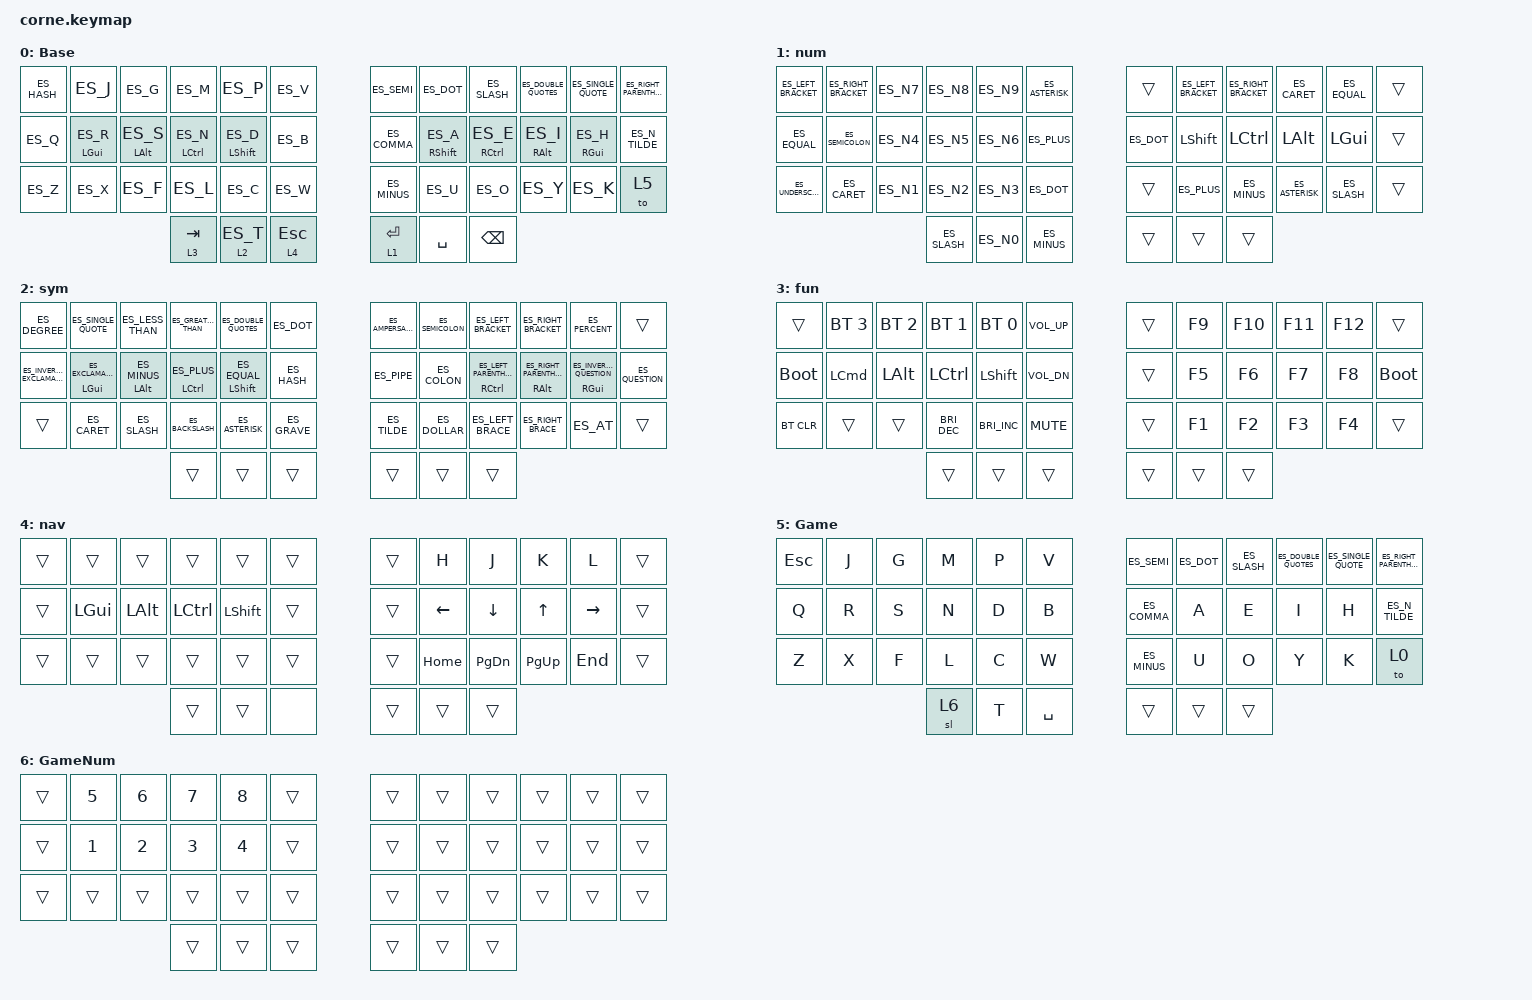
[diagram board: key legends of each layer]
/*
 * Copyright (c) 2020 The ZMK Contributors
 *
 * SPDX-License-Identifier: MIT
 */

#include <locale/keys_es_latin_american.h>
#include <behaviors.dtsi>
#include <dt-bindings/zmk/bt.h>
#include <dt-bindings/zmk/keys.h>

/ {
    behaviors {
        hrm: hrm {
            compatible = "zmk,behavior-hold-tap";
            label = "HRM";
            bindings = <&kp>, <&kp>;

            #binding-cells = <2>;
            flavor = "balanced";
            tapping-term-ms = <280>;
            quick-tap-ms = <175>;
            require-prior-idle-ms = <150>;
        };

        htl: htl {
            compatible = "zmk,behavior-hold-tap";
            label = "HTL";
            bindings = <&mo>, <&kp>;

            #binding-cells = <2>;
            tapping-term-ms = <280>;
            quick-tap-ms = <150>;
            require-prior-idle-ms = <100>;
            flavor = "balanced";
        };
    };

    combos {
        compatible = "zmk,combos";

        a_tilde {
            bindings = <&a_tilde>;
            key-positions = <37 19>;
        };

        e_tilde {
            bindings = <&e_tilde>;
            key-positions = <37 20>;
        };

        i_tilde {
            bindings = <&i_tilde>;
            key-positions = <37 21>;
        };

        o_tilde {
            bindings = <&o_tilde>;
            key-positions = <37 32>;
        };

        u_tilde {
            bindings = <&u_tilde>;
            key-positions = <37 31>;
        };

        u_dos_puntos {
            bindings = <&u_dos_puntos>;
            key-positions = <37 31 32>;
        };

        caps_lock {
            bindings = <&kp CAPS>;
            key-positions = <21 22>;
        };
    };

    macros {
        a_tilde: a_tilde {
            compatible = "zmk,behavior-macro";
            #binding-cells = <0>;
            bindings = <&kp ES_ACUTE &kp ES_A>;
            label = "A_TILDE";
        };

        e_tilde: e_tilde {
            compatible = "zmk,behavior-macro";
            #binding-cells = <0>;
            bindings = <&kp ES_ACUTE &kp ES_E>;
            label = "E_TILDE";
        };

        i_tilde: i_tilde {
            compatible = "zmk,behavior-macro";
            #binding-cells = <0>;
            bindings = <&kp ES_ACUTE &kp ES_I>;
            label = "I_TILDE";
        };

        o_tilde: o_tilde {
            compatible = "zmk,behavior-macro";
            #binding-cells = <0>;
            bindings = <&kp ES_ACUTE &kp ES_O>;
            label = "O_TILDE";
        };

        u_tilde: u_tilde {
            compatible = "zmk,behavior-macro";
            #binding-cells = <0>;
            bindings = <&kp ES_ACUTE &kp ES_U>;
            label = "U_TILDE";
        };

        u_dos_puntos: u_dos_puntos {
            compatible = "zmk,behavior-macro";
            #binding-cells = <0>;
            bindings = <&kp ES_UMLAUT &kp ES_U>;
            label = "U_DOS_PUNTOS";
        };
    };

    keymap {
        compatible = "zmk,keymap";

        Base {
            bindings = <
&kp ES_HASH  &kp ES_J            &kp ES_G            &kp ES_M         &kp ES_P          &kp ES_V       &kp ES_SEMI   &kp ES_DOT             &kp ES_SLASH     &kp ES_DOUBLE_QUOTES  &kp ES_SINGLE_QUOTE  &kp ES_RIGHT_PARENTHESIS
&kp ES_Q     &hrm LEFT_GUI ES_R  &hrm LEFT_ALT ES_S  &hrm LCTRL ES_N  &hrm LSHIFT ES_D  &kp ES_B       &kp ES_COMMA  &hrm RIGHT_SHIFT ES_A  &hrm RCTRL ES_E  &hrm RIGHT_ALT ES_I   &hrm RIGHT_GUI ES_H  &kp ES_N_TILDE
&kp ES_Z     &kp ES_X            &kp ES_F            &kp ES_L         &kp ES_C          &kp ES_W       &kp ES_MINUS  &kp ES_U               &kp ES_O         &kp ES_Y              &kp ES_K             &to 5
                                                     &htl 3 TAB       &htl 2 ES_T       &htl 4 ESCAPE  &htl 1 ENTER  &kp SPACE              &kp BACKSPACE
            >;

            label = "Base";
        };

        Number {
            bindings = <
&kp ES_LEFT_BRACKET  &kp ES_RIGHT_BRACKET  &kp ES_N7  &kp ES_N8     &kp ES_N9  &kp ES_ASTERISK  &trans      &kp ES_LEFT_BRACKET  &kp ES_RIGHT_BRACKET  &kp ES_CARET     &kp ES_EQUAL  &trans
&kp ES_EQUAL         &kp ES_SEMICOLON      &kp ES_N4  &kp ES_N5     &kp ES_N6  &kp ES_PLUS      &kp ES_DOT  &kp LEFT_SHIFT       &kp LEFT_CONTROL      &kp LEFT_ALT     &kp LEFT_GUI  &trans
&kp ES_UNDERSCORE    &kp ES_CARET          &kp ES_N1  &kp ES_N2     &kp ES_N3  &kp ES_DOT       &trans      &kp ES_PLUS          &kp ES_MINUS          &kp ES_ASTERISK  &kp ES_SLASH  &trans
                                                      &kp ES_SLASH  &kp ES_N0  &kp ES_MINUS     &trans      &trans               &trans
            >;

            label = "num";
        };

        Symbol {
            bindings = <
&kp ES_DEGREE                &kp ES_SINGLE_QUOTE           &kp ES_LESS_THAN        &kp ES_GREATER_THAN  &kp ES_DOUBLE_QUOTES  &kp ES_DOT    &kp ES_AMPERSAND  &kp ES_SEMICOLON  &kp ES_LEFT_BRACKET                     &kp ES_RIGHT_BRACKET                 &kp ES_PERCENT                       &trans
&kp ES_INVERTED_EXCLAMATION  &hrm LEFT_GUI ES_EXCLAMATION  &hrm LEFT_ALT ES_MINUS  &hrm LCTRL ES_PLUS   &hrm LSHFT ES_EQUAL   &kp ES_HASH   &kp ES_PIPE       &kp ES_COLON      &hrm RIGHT_CONTROL ES_LEFT_PARENTHESIS  &hrm RIGHT_ALT ES_RIGHT_PARENTHESIS  &hrm RIGHT_GUI ES_INVERTED_QUESTION  &kp ES_QUESTION
&trans                       &kp ES_CARET                  &kp ES_SLASH            &kp ES_BACKSLASH     &kp ES_ASTERISK       &kp ES_GRAVE  &kp ES_TILDE      &kp ES_DOLLAR     &kp ES_LEFT_BRACE                       &kp ES_RIGHT_BRACE                   &kp ES_AT                            &trans
                                                                                   &trans               &trans                &trans        &trans            &trans            &trans
            >;

            label = "sym";
        };

        Function {
            bindings = <
&trans       &bt BT_SEL 3      &bt BT_SEL 2  &bt BT_SEL 1          &bt BT_SEL 0          &kp C_VOLUME_UP  &trans  &kp F9  &kp F10  &kp F11  &kp F12  &trans
&bootloader  &kp LEFT_COMMAND  &kp LEFT_ALT  &kp LEFT_CONTROL      &kp LEFT_SHIFT        &kp C_VOL_DN     &trans  &kp F5  &kp F6   &kp F7   &kp F8   &bootloader
&bt BT_CLR   &trans            &trans        &kp C_BRIGHTNESS_DEC  &kp C_BRIGHTNESS_INC  &kp C_MUTE       &trans  &kp F1  &kp F2   &kp F3   &kp F4   &trans
                                             &trans                &trans                &trans           &trans  &trans  &trans
            >;

            label = "fun";
        };

        Navigation {
            bindings = <
&trans  &trans        &trans        &trans            &trans          &trans  &trans  &kp H     &kp J          &kp K        &kp L      &trans
&trans  &kp LEFT_GUI  &kp LEFT_ALT  &kp LEFT_CONTROL  &kp LEFT_SHIFT  &trans  &trans  &kp LEFT  &kp DOWN       &kp UP       &kp RIGHT  &trans
&trans  &trans        &trans        &trans            &trans          &trans  &trans  &kp HOME  &kp PAGE_DOWN  &kp PAGE_UP  &kp END    &trans
                                    &trans            &trans          &none   &trans  &trans    &trans
            >;

            label = "nav";
        };

        Game {
            bindings = <
&kp ESCAPE  &kp J  &kp G  &kp M  &kp P  &kp V        &kp ES_SEMI   &kp ES_DOT  &kp ES_SLASH  &kp ES_DOUBLE_QUOTES  &kp ES_SINGLE_QUOTE  &kp ES_RIGHT_PARENTHESIS
&kp Q       &kp R  &kp S  &kp N  &kp D  &kp B        &kp ES_COMMA  &kp A       &kp E         &kp I                 &kp H                &kp ES_N_TILDE
&kp Z       &kp X  &kp F  &kp L  &kp C  &kp W        &kp ES_MINUS  &kp U       &kp O         &kp Y                 &kp K                &to 0
                          &sl 6  &kp T  &kp SPACE    &trans     &trans   &trans
            >;

            label = "Game";
        };

        gamenum {
            bindings = <
&trans  &kp N5  &kp N6  &kp N7  &kp N8  &trans    &trans  &trans  &trans  &trans  &trans  &trans
&trans  &kp N1  &kp N2  &kp N3  &kp N4  &trans    &trans  &trans  &trans  &trans  &trans  &trans
&trans  &trans  &trans  &trans  &trans  &trans    &trans  &trans  &trans  &trans  &trans  &trans
                        &trans  &trans  &trans    &trans  &trans  &trans
            >;

            label = "GameNum";
        };
    };
};
